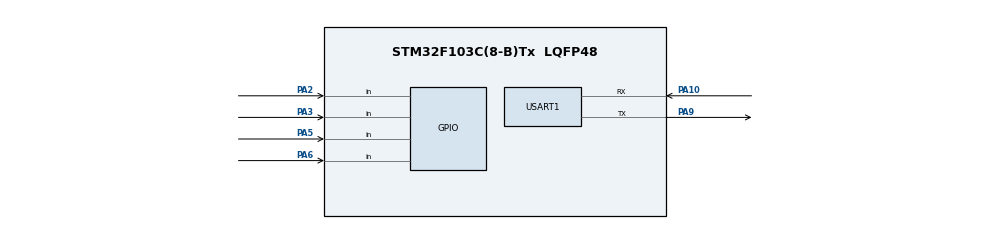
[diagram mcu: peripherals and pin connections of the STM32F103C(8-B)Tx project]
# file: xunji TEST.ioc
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Mcu.Family=STM32F1
Mcu.Name=STM32F103C(8-B)Tx
Mcu.Package=LQFP48
NVIC.PriorityGroup=NVIC_PRIORITYGROUP_4
PA10.Mode=Asynchronous
PA10.Signal=USART1_RX
PA13.Mode=Serial_Wire
PA13.Signal=SYS_JTMS-SWDIO
PA14.Mode=Serial_Wire
PA14.Signal=SYS_JTCK-SWCLK
PA2.GPIO_PuPd=GPIO_PULLUP
PA2.Signal=GPIO_Input
PA3.GPIO_PuPd=GPIO_PULLUP
PA3.Signal=GPIO_Input
PA5.GPIO_PuPd=GPIO_PULLUP
PA5.Signal=GPIO_Input
PA6.GPIO_PuPd=GPIO_PULLUP
PA6.Signal=GPIO_Input
PA9.Mode=Asynchronous
PA9.Signal=USART1_TX
ProjectManager.HeapSize=0x200
ProjectManager.StackSize=0x400
ProjectManager.TargetToolchain=MDK-ARM V5.32
RCC.APB1Freq_Value=8000000
RCC.APB2Freq_Value=8000000
USART1.VirtualMode=VM_ASYNC
board=custom

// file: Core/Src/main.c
/* USER CODE BEGIN Header */
/**
  ******************************************************************************
  * @file           : main.c
  * @brief          : Main program body
  ******************************************************************************
  * @attention
  *
  * Copyright (c) 2026 STMicroelectronics.
  * All rights reserved.
  *
  * This software is licensed under terms that can be found in the LICENSE file
  * in the root directory of this software component.
  * If no LICENSE file comes with this software, it is provided AS-IS.
  *
  ******************************************************************************
  */
/* USER CODE END Header */
#include "main.h"

/* USER CODE BEGIN Includes */
  #include <stdio.h>
/* USER CODE END Includes */

UART_HandleTypeDef huart1;

/* USER CODE BEGIN PV */
  /* 循迹引脚, 与原工程完全一致 */
  #define TRACK_PORT      GPIOA
  #define TRACK_L1_PIN    GPIO_PIN_2   /* 最左 PA2 */
  #define TRACK_L2_PIN    GPIO_PIN_3   /* 左内 PA3 */
  #define TRACK_R1_PIN    GPIO_PIN_6   /* 右内 PA6 */
  #define TRACK_R2_PIN    GPIO_PIN_7   /* 最右 PA7 */
/* USER CODE END PV */

void SystemClock_Config(void);
static void MX_GPIO_Init(void);
static void MX_USART1_UART_Init(void);

/* USER CODE BEGIN 0 */

int fputc(int ch, FILE *f)
  {
      HAL_UART_Transmit(&huart1, (uint8_t *)&ch, 1, HAL_MAX_DELAY);
      return ch;
  }
/* USER CODE END 0 */

int main(void)
{

  /* MCU Configuration--------------------------------------------------------*/

  /* Reset of all peripherals, Initializes the Flash interface and the Systick. */
  HAL_Init();

  /* Configure the system clock */
  SystemClock_Config();

  /* Initialize all configured peripherals */
  MX_GPIO_Init();
  MX_USART1_UART_Init();

  /* Infinite loop */
  /* USER CODE BEGIN WHILE */
  while (1)
  {

		  /* 读四路原始电平: 1=高电平, 0=低电平 */
      uint8_t l1 = HAL_GPIO_ReadPin(TRACK_PORT, TRACK_L1_PIN);
      uint8_t l2 = HAL_GPIO_ReadPin(TRACK_PORT, TRACK_L2_PIN);
      uint8_t r1 = HAL_GPIO_ReadPin(TRACK_PORT, TRACK_R1_PIN);
      uint8_t r2 = HAL_GPIO_ReadPin(TRACK_PORT, TRACK_R2_PIN);

      /* 位图: bm     = 高电平位置位
               bm_low = 低电平(压黑线时若模块拉低)位置位 */
      uint8_t bm     = (uint8_t)((l1 << 3) | (l2 << 2) | (r1 << 1) | r2);
      uint8_t bm_low = (uint8_t)((~bm) & 0x0F);

      printf("L1=%d L2=%d R1=%d R2=%d | bm=0x%02X bm_low=0x%02X\r\n",
             l1, l2, r1, r2, bm, bm_low);
      HAL_Delay(200);   /* 每秒打印5次, 刷新不刷屏 */

    /* USER CODE END WHILE */

	}
}

void SystemClock_Config(void)
{
  RCC_OscInitTypeDef RCC_OscInitStruct = {0};
  RCC_ClkInitTypeDef RCC_ClkInitStruct = {0};

  /** Initializes the RCC Oscillators according to the specified parameters
  * in the RCC_OscInitTypeDef structure.
  */
  RCC_OscInitStruct.OscillatorType = RCC_OSCILLATORTYPE_HSI;
  RCC_OscInitStruct.HSIState = RCC_HSI_ON;
  RCC_OscInitStruct.HSICalibrationValue = RCC_HSICALIBRATION_DEFAULT;
  RCC_OscInitStruct.PLL.PLLState = RCC_PLL_NONE;
  if (HAL_RCC_OscConfig(&RCC_OscInitStruct) != HAL_OK)
  {
    Error_Handler();
  }

  /** Initializes the CPU, AHB and APB buses clocks
  */
  RCC_ClkInitStruct.ClockType = RCC_CLOCKTYPE_HCLK|RCC_CLOCKTYPE_SYSCLK
                              |RCC_CLOCKTYPE_PCLK1|RCC_CLOCKTYPE_PCLK2;
  RCC_ClkInitStruct.SYSCLKSource = RCC_SYSCLKSOURCE_HSI;
  RCC_ClkInitStruct.AHBCLKDivider = RCC_SYSCLK_DIV1;
  RCC_ClkInitStruct.APB1CLKDivider = RCC_HCLK_DIV1;
  RCC_ClkInitStruct.APB2CLKDivider = RCC_HCLK_DIV1;

  if (HAL_RCC_ClockConfig(&RCC_ClkInitStruct, FLASH_LATENCY_0) != HAL_OK)
  {
    Error_Handler();
  }
}

static void MX_USART1_UART_Init(void)
{

  huart1.Instance = USART1;
  huart1.Init.BaudRate = 115200;
  huart1.Init.WordLength = UART_WORDLENGTH_8B;
  huart1.Init.StopBits = UART_STOPBITS_1;
  huart1.Init.Parity = UART_PARITY_NONE;
  huart1.Init.Mode = UART_MODE_TX_RX;
  huart1.Init.HwFlowCtl = UART_HWCONTROL_NONE;
  huart1.Init.OverSampling = UART_OVERSAMPLING_16;
  if (HAL_UART_Init(&huart1) != HAL_OK)
  {
    Error_Handler();
  }

}

static void MX_GPIO_Init(void)
{
  GPIO_InitTypeDef GPIO_InitStruct = {0};

  /* GPIO Ports Clock Enable */
  __HAL_RCC_GPIOA_CLK_ENABLE();

  /*Configure GPIO pins : PA2 PA3 PA5 PA6 */
  GPIO_InitStruct.Pin = GPIO_PIN_2|GPIO_PIN_3|GPIO_PIN_5|GPIO_PIN_6;
  GPIO_InitStruct.Mode = GPIO_MODE_INPUT;
  GPIO_InitStruct.Pull = GPIO_PULLUP;
  HAL_GPIO_Init(GPIOA, &GPIO_InitStruct);

}

void Error_Handler(void)
{
  __disable_irq();
  while (1)
  {
  }
}
